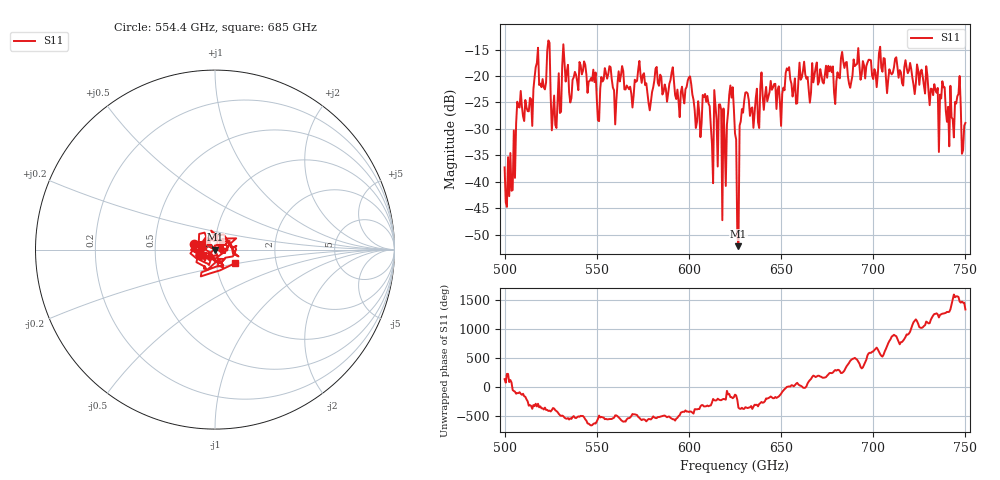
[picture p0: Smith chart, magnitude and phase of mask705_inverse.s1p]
!Created with skrf (http://scikit-rf.org).
# GHz S MA R 50.0
!freq magS11 angS11
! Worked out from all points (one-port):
!   401 points, 500 GHz to 750 GHz, reference 50 ohm
!   lowest |S11| = -52.2 dB at 626.9 GHz (marker M1), VSWR 1.00, Z = 50.2 + j0.00944 ohm
!   |S11| at or under -10 dB: start of sweep to end of sweep
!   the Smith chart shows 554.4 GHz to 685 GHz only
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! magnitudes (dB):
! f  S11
! 500 GHz  -37.3
! 505 GHz  -30.3
! 507.5 GHz  -25.8
! 513.8 GHz  -24.1
! 516.9 GHz  -18.3
! 523.8 GHz  -13.3
! 526.9 GHz  -23.7
! 531.2 GHz  -18.1
! 542.5 GHz  -19.0
! 551.2 GHz  -28.5
! 562.5 GHz  -21.0
! 590.6 GHz  -19.3
! 593.8 GHz  -22.6
! 600 GHz  -20.3
! 605 GHz  -24.8
! 608.8 GHz  -23.4
! 619.4 GHz  -31.7
! 623.1 GHz  -24.1
! 625 GHz  -30.9
! 626.9 GHz  -52.2
! 628.8 GHz  -26.3
! 631.2 GHz  -23.1
! 656.2 GHz  -23.9
! 687.5 GHz  -22.2
! 718.8 GHz  -19.5
! 742.5 GHz  -27.8
! 746.2 GHz  -23.4
! 750 GHz  -28.9
